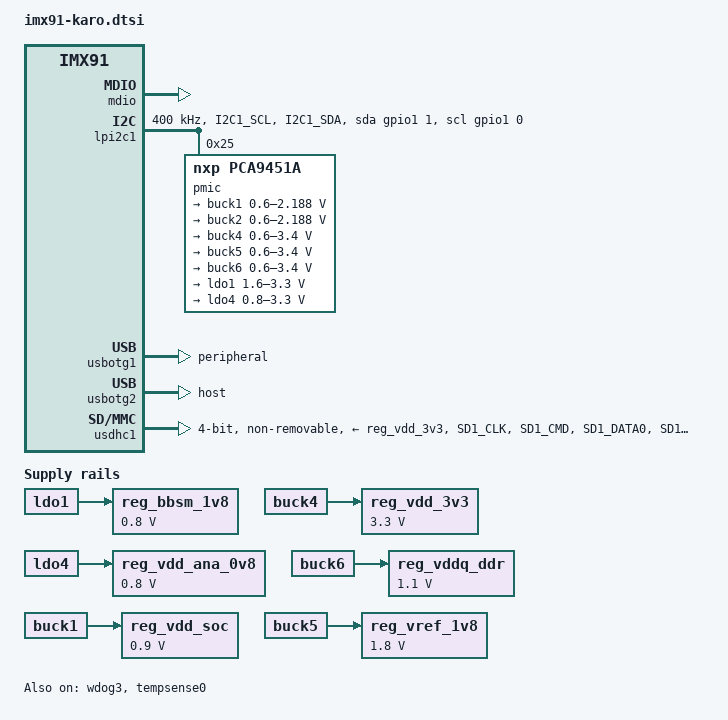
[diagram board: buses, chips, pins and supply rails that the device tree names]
// SPDX-License-Identifier: (GPL-2.0+ OR MIT)
/*
 * Copyright 2024 Marcel Mertens <MM@KARO-electronics.de>
 */

/dts-v1/;

#include "imx91.dtsi"

/delete-node/ &tmu;

/ {
	aliases {
		ethernet0 = &eqos;
		ethernet1 = &fec;
		mmc0 = &usdhc1;
		usb-host = &usbotg2;
		usbotg = &usbotg1;
	};

	chosen {
		stdout-path = "serial0:115200n8";
	};

	reg_bbsm_1v8: regulator-bbsm-1v8 {
		compatible = "regulator-fixed";
		regulator-name = "bbsm_1v8";
		regulator-min-microvolt = <800000>;
		regulator-max-microvolt = <800000>;
		vin-supply = <&ldo1>;
		regulator-boot-on;
		regulator-always-on;
	};

	reg_vdd_3v3: regulator-3v3 {
		compatible = "regulator-fixed";
		regulator-name = "vdd_3v3";
		regulator-min-microvolt = <3300000>;
		regulator-max-microvolt = <3300000>;
		vin-supply = <&buck4>;
		regulator-boot-on;
		regulator-always-on;
	};

	reg_vdd_ana_0v8: regulator-ana-0v8 {
		compatible = "regulator-fixed";
		regulator-name = "ana_0v8";
		regulator-min-microvolt = <800000>;
		regulator-max-microvolt = <800000>;
		vin-supply = <&ldo4>;
	};

	reg_vddq_ddr: regulator-vddq-ddr {
		compatible = "regulator-fixed";
		regulator-name = "vddq_ddr";
		regulator-min-microvolt = <1100000>;
		regulator-max-microvolt = <1100000>;
		vin-supply = <&buck6>;
		regulator-boot-on;
		regulator-always-on;
	};

	reg_vdd_soc: regulator-vdd-soc {
		compatible = "regulator-fixed";
		regulator-name = "vdd_soc";
		regulator-min-microvolt = <900000>;
		regulator-max-microvolt = <900000>;
		vin-supply = <&buck1>;
		regulator-boot-on;
		regulator-always-on;
	};

	reg_vref_1v8: regulator-adc-vref {
		compatible = "regulator-fixed";
		regulator-name = "vref_1v8";
		regulator-min-microvolt = <1800000>;
		regulator-max-microvolt = <1800000>;
		vin-supply = <&buck5>;
	};

	thermal-zones {
		cpu-thermal {
			thermal-sensors = <&tempsense0>;
		};
	};
};

&eqos {
	mdio {
		compatible = "snps,dwmac-mdio";
		#address-cells = <1>;
		#size-cells = <0>;
		clock-frequency = <2500000>;
	};
};

&fec {
	mdio {
		#address-cells = <1>;
		#size-cells = <0>;
		clock-frequency = <2500000>;
	};
};

&lpi2c1 {
	clock-frequency = <400000>;
	pinctrl-names = "default", "gpio";
	pinctrl-0 = <&pinctrl_lpi2c1>;
	pinctrl-1 = <&pinctrl_lpi2c1_gpio>;
	scl-gpios = <&gpio1 0 (GPIO_ACTIVE_HIGH | GPIO_OPEN_DRAIN)>;
	sda-gpios = <&gpio1 1 (GPIO_ACTIVE_HIGH | GPIO_OPEN_DRAIN)>;
	status = "okay";

	pmic: pmic@25 {
		compatible = "nxp,pca9451a";
		pinctrl-names = "default";
		pinctrl-0 = <&pinctrl_pmic>;
		reg = <0x25>;

		regulators {
			buck1: BUCK1 {
				regulator-name = "BUCK1";
				regulator-min-microvolt = <600000>;
				regulator-max-microvolt = <2187500>;
				regulator-ramp-delay = <3125>;
				regulator-boot-on;
				regulator-always-on;
			};

			buck2: BUCK2 {
				regulator-name = "BUCK2";
				regulator-min-microvolt = <600000>;
				regulator-max-microvolt = <2187500>;
				regulator-ramp-delay = <3125>;
			};

			buck4: BUCK4 {
				regulator-name = "BUCK4";
				regulator-min-microvolt = <600000>;
				regulator-max-microvolt = <3400000>;
				regulator-boot-on;
				regulator-always-on;
			};

			buck5: BUCK5 {
				regulator-name = "BUCK5";
				regulator-min-microvolt = <600000>;
				regulator-max-microvolt = <3400000>;
				regulator-boot-on;
				regulator-always-on;
			};

			buck6: BUCK6 {
				regulator-name = "BUCK6";
				regulator-min-microvolt = <600000>;
				regulator-max-microvolt = <3400000>;
				regulator-boot-on;
				regulator-always-on;
			};

			ldo1: LDO1 {
				regulator-name = "LDO1";
				regulator-min-microvolt = <1600000>;
				regulator-max-microvolt = <3300000>;
				regulator-boot-on;
				regulator-always-on;
			};

			ldo4: LDO4 {
				regulator-name = "LDO4";
				regulator-min-microvolt = <800000>;
				regulator-max-microvolt = <3300000>;
			};
		};
	};
};

&aips1 {
	tempsense0: thermal-sensor@44482000 {
		compatible = "fsl,imx91-tmu";
		reg = <0x44482000 0x1000>;
		#thermal-sensor-cells = <0>;
		clocks = <&clk IMX93_CLK_TMC_GATE>;
		status = "disabled";
	};
};

&anatop {
	reg = <0x44480000 0x2000>;
};

&tempsense0 {
	status = "okay";
};

&usbotg1 {
	dr_mode = "peripheral";
	hnp-disable;
	srp-disable;
	adp-disable;
	disable-over-current;
	samsung,picophy-pre-emp-curr-control = <3>;
	samsung,picophy-dc-vol-level-adjust = <7>;
	status = "okay";
};

&usbotg2 {
	dr_mode = "host";
	hnp-disable;
	srp-disable;
	adp-disable;
	disable-over-current;
	samsung,picophy-pre-emp-curr-control = <3>;
	samsung,picophy-dc-vol-level-adjust = <7>;
	status = "okay";
};

&usdhc1 { /* eMMC */
	pinctrl-names = "default";
	pinctrl-0 = <&pinctrl_usdhc1>;
	vmmc-supply = <&reg_vdd_3v3>;
	vqmmc-supply = <&reg_vdd_3v3>;
	bus-width = <4>;
	no-1-8-v;
	non-removable;
	status = "okay";
};

&wdog3 {
	status = "okay";
};

&iomuxc {
	pinctrl-names = "default";
	status = "okay";

	pinctrl_ethphy0_rst: ethphy0-rstgrp {
		fsl,pins = <
			MX91_PAD_ENET1_RD3__GPIO4_IO13			0x4000017e
		>;
	};

	pinctrl_flexcan2: flexcan2grp {
		fsl,pins = <
			MX91_PAD_GPIO_IO25__CAN2_TX			0x139e
			MX91_PAD_GPIO_IO27__CAN2_RX			0x139e
		>;
	};

	pinctrl_lpi2c1: lpi2c1grp {
		fsl,pins = <
			MX91_PAD_I2C1_SCL__LPI2C1_SCL			0x40001a1e
			MX91_PAD_I2C1_SDA__LPI2C1_SDA			0x40001a1e
		>;
	};

	pinctrl_lpi2c1_gpio: lpi2c1-gpiogrp {
		fsl,pins = <
			MX91_PAD_I2C1_SCL__GPIO1_IO0			0x40001a1e
			MX91_PAD_I2C1_SDA__GPIO1_IO1			0x40001a1e
		>;
	};

	pinctrl_lpuart1: uart1grp {
		fsl,pins = <
			MX91_PAD_UART1_TXD__LPUART1_TX			0x31e
			MX91_PAD_UART1_RXD__LPUART1_RX			0x31e
		>;
	};

	pinctrl_lpuart1_rtscts: uart1-rtsctsgrp {
		fsl,pins = <
			MX91_PAD_UART2_RXD__LPUART1_CTS_B		0x31e
			MX91_PAD_UART2_TXD__LPUART1_RTS_B		0x31e
		>;
	};

	pinctrl_lpuart2: uart2grp {
		fsl,pins = <
			MX91_PAD_UART2_TXD__LPUART2_TX			0x31e
			MX91_PAD_UART2_RXD__LPUART2_RX			0x31e
		>;
	};

	pinctrl_lpuart3: uart3grp {
		fsl,pins = <
			MX91_PAD_GPIO_IO14__LPUART3_TX			0x31e
			MX91_PAD_GPIO_IO15__LPUART3_RX			0x31e
		>;
	};

	pinctrl_lpuart3_rtscts: uart3-rtsctsgrp {
		fsl,pins = <
			MX91_PAD_GPIO_IO16__LPUART3_CTS_B		0x31e
			MX91_PAD_GPIO_IO17__LPUART3_RTS_B		0x31e
		>;
	};

	pinctrl_lpuart4: uart4grp {
		fsl,pins = <
			MX91_PAD_ENET2_TD0__LPUART4_TX			0x21e
			MX91_PAD_ENET2_RD0__LPUART4_RX			0x21e
		>;
	};

	pinctrl_lpuart5: uart5grp {
		fsl,pins = <
			MX91_PAD_DAP_TDO_TRACESWO__LPUART5_TX		0x31e
			MX91_PAD_DAP_TDI__LPUART5_RX			0x31e
		>;
	};

	pinctrl_lpuart5_rtscts: uart5-rtsctsgrp {
		fsl,pins = <
			MX91_PAD_DAP_TCLK_SWCLK__LPUART5_CTS_B		0x31e
			MX91_PAD_DAP_TMS_SWDIO__LPUART5_RTS_B		0x31e
		>;
	};

	pinctrl_lpuart8: uart8grp {
		fsl,pins = <
			MX91_PAD_GPIO_IO12__LPUART8_TX			0x31e
			MX91_PAD_GPIO_IO13__LPUART8_RX			0x31e
		>;
	};

	pinctrl_usdhc1: usdhc1grp {
		fsl,pins = <
			MX91_PAD_SD1_CLK__USDHC1_CLK			0x17fe
			MX91_PAD_SD1_CMD__USDHC1_CMD			0x13fe
			MX91_PAD_SD1_DATA0__USDHC1_DATA0		0x13fe
			MX91_PAD_SD1_DATA1__USDHC1_DATA1		0x13fe
			MX91_PAD_SD1_DATA2__USDHC1_DATA2		0x13fe
			MX91_PAD_SD1_DATA3__USDHC1_DATA3		0x13fe
		>;
	};
};
